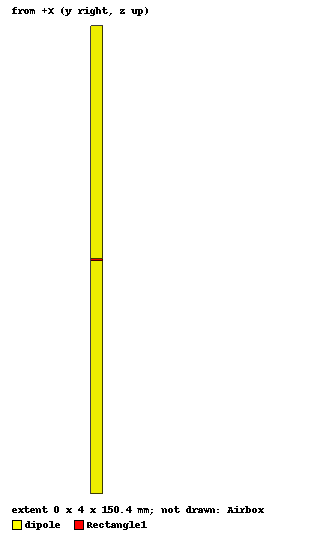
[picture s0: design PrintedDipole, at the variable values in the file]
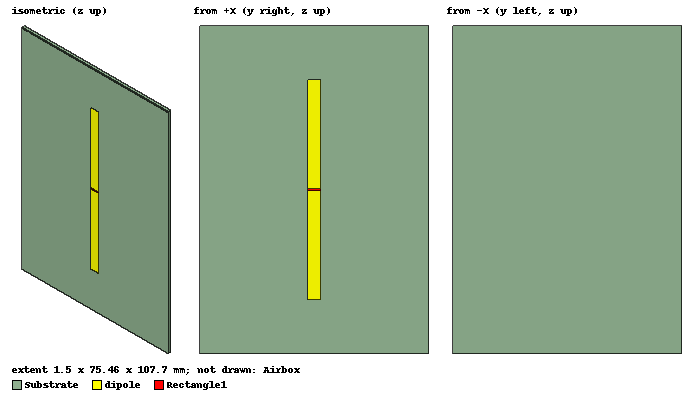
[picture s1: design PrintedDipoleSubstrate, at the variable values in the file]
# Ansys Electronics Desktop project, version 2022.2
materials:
  vacuum: permittivity=1
  FR4_epoxy: permittivity=4.4 dielectric_loss_tangent=0.02
  copper: permeability=0.999991 conductivity=58000000

design PrintedDipole (HFSS, DrivenModal, model units mm)
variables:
  Wdipole = 4mm
  frequency = 1GHz
  lambda0 = c0/frequency
  Ldipole = lambda0/2
  g = 0.5mm
  Wbox = lambda0/2
  Lbox = Ldipole+lambda0/4
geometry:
  dipole = rectangle(corner=(0mm, -Wdipole/2, g/2), y_size=Wdipole, z_size=Ldipole/2)
  Rectangle1_1 = dipole.duplicate_mirror(point=(0mm, 0mm, 0mm), normal=(0mm, 0mm, -1mm))
  dipole.unite(Rectangle1_1)
  Rectangle1 = rectangle(corner=(0mm, -Wdipole/2, -g/2), y_size=Wdipole, z_size=g)
  Airbox [vacuum] = box(corner=(-Wbox/2, -Wbox/2, -Lbox/2), size=(Wbox, Wbox, Lbox))
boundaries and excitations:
  FiniteCond1: Finite Conductivity Objects=dipole UseMaterial Material=copper IsInternal
  Rad1: Radiation Objects=Airbox
  1: Lumped Port Objects=Rectangle1 Modes{Mode1{IntLine{(0, 0, -0.25) -> (0, 0, 0.25)} CharImp=Zpi}} Impedance=55ohm
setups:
  Setup1: HfssDriven Frequency=1GHz MaxDeltaS=1e-07 MaximumPasses=16 MinimumPasses=1 MinimumConvergedPasses=1 PercentRefinement=30 BasisOrder=1 PortAccuracy=2 DrivenSolverType="Direct Solver"
    sweep Sweep: 0.5GHz to 1.5GHz, 1001 points; Type=Fast SaveFields
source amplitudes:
  1:1: 1W 0deg
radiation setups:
  Infinite Sphere1: Infinite Sphere Theta=0deg..180deg step 2deg Phi=-180deg..180deg step 2deg
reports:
  S Parameter Plot 1: dB(S(1,1)) vs Freq on Setup1 : Sweep; markers m1 at 0.946GHz
  Directivity Plot (linear): DirTotal vs Phi, Theta on Setup1 : LastAdaptive, Infinite Sphere1 [Freq=1GHz]
  Directivity Plot (dB): dB(DirTotal) vs Phi, Theta on Setup1 : LastAdaptive, Infinite Sphere1 [Freq=1GHz]
  Antenna Params Table 1: RadiationEfficiency vs Freq on Setup1 : LastAdaptive
  Realized Gain Plot 1: RealizedGainTotal vs Phi, Theta on Setup1 : LastAdaptive, Infinite Sphere1 [Freq=1GHz]

design PrintedDipoleSubstrate (HFSS, DrivenModal, model units mm)
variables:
  Wdipole = 4mm
  frequency = 1GHz
  lambda0 = c0/frequency
  Ldipole = lambdaFR4/2
  g = 0.5mm
  Wbox = lambda0/2
  Lbox = Ldipole+lambda0/4
  epsilon_r = 4.4
  lambdaFR4 = lambda0/sqrt(epsilon_r)
  Lsub = lambdaFR4/2+Wdipole
  Wsub = Ldipole+lambdaFR4/4+g
  Hsub = 1.5mm
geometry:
  dipole = rectangle(corner=(0mm, -Wdipole/2, g/2), y_size=Wdipole, z_size=Ldipole/2)
  Rectangle1_1 = dipole.duplicate_mirror(point=(0mm, 0mm, 0mm), normal=(0mm, 0mm, -1mm))
  dipole.unite(Rectangle1_1)
  Rectangle1 = rectangle(corner=(0mm, -Wdipole/2, -g/2), y_size=Wdipole, z_size=g)
  Airbox [vacuum] = box(corner=(-Wbox/2, -Wbox/2, -Lbox/2), size=(Wbox, Wbox, Lbox))
  Substrate [FR4_epoxy] = box(corner=(-Hsub, -Lsub/2, -Wsub/2), size=(Hsub, Lsub, Wsub))
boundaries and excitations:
  FiniteCond1: Finite Conductivity Objects=dipole UseMaterial Material=copper IsInternal
  Rad1: Radiation Objects=Airbox
  1: Lumped Port Objects=Rectangle1 Modes{Mode1{IntLine{(0, 0, -0.25) -> (0, 0, 0.25)} CharImp=Zpi}} Impedance=55ohm
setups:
  Setup1: HfssDriven Frequency=1GHz MaxDeltaS=1e-07 MaximumPasses=16 MinimumPasses=1 MinimumConvergedPasses=1 PercentRefinement=30 BasisOrder=1 PortAccuracy=2 DrivenSolverType="Direct Solver"
    sweep Sweep: 0.5GHz to 1.5GHz, 1001 points; Type=Fast SaveFields
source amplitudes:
  1:1: 1W 0deg
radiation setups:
  Infinite Sphere1: Infinite Sphere Theta=0deg..180deg step 2deg Phi=-180deg..180deg step 2deg
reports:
  S Parameter Plot 1: dB(S(1,1)) vs Freq on Setup1 : Sweep; markers m1 at 0.941GHz
